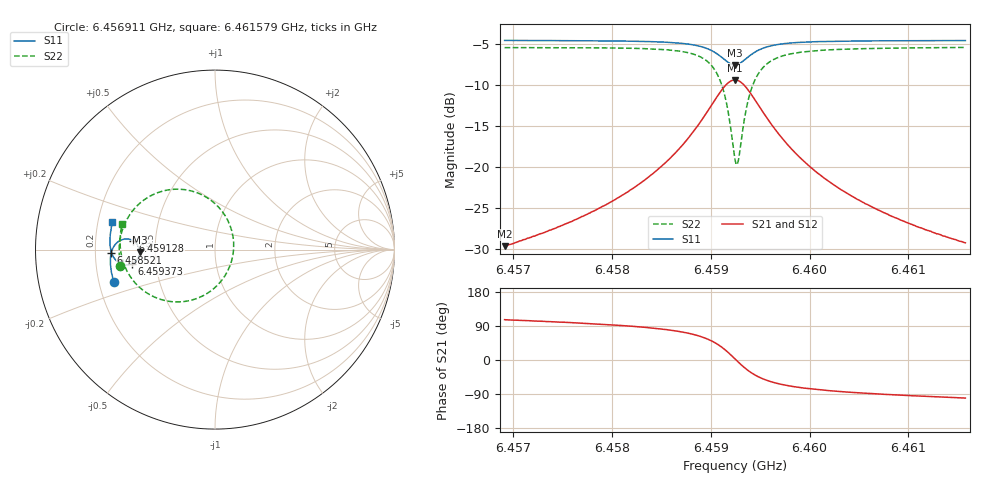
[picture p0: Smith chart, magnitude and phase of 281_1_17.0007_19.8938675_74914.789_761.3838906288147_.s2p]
#  HZ  S  RI  R  50.00
! Rohde & Schwarz Vector Network Analyzer
! Rohde-Schwarz,ZNB20-2Port,1311601062101988,3.16
! Created: UTC 3/20/2024, 11:04:41 PM
! freq[Hz]  re:S11  im:S11  re:S21  im:S21  re:S12  im:S12  re:S22  im:S22
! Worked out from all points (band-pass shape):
!   401 points, 6.456911 GHz to 6.461579 GHz, reference 50 ohm
!   highest |S21| = -9.36 dB at 6.459245 GHz (marker M1); lowest = -29.6 dB at 6.456911 GHz (marker M2)
!   |S21| within 3 dB of the highest: 6.459012 GHz to 6.459478 GHz (466.5 kHz wide, 0.00722 % of centre)
!   lowest |S11| = -7.5 dB at 6.459245 GHz (marker M3), VSWR 2.45, Z = 20.4 - j0.63 ohm
!   |S11| at or under -10 dB: nowhere
!   |S22| runs from -19.7 to -5.4 dB; largest |S21 - S12| = 0.013
!   S11 on the Smith chart (normalised r, x): 6.456911 GHz: 0.26, -0.14; 6.458521 GHz: 0.27, -0.02; 6.459128 GHz: 0.37, +0.05; 6.459373 GHz: 0.37, -0.07; 6.461579 GHz: 0.26, +0.12
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6.4569109e9  -0.5648 -0.1778  -0.00934 0.0317  -0.00758 0.0318  -0.5272 -0.0929
6.4576928e9  -0.5798 -0.1099  -0.00618 0.0497  -0.00372 0.049  -0.5344 -0.0029
6.4581363e9  -0.5831 -0.0656  -0.000327 0.0695  0.00299 0.0681  -0.527 0.0664
6.4584747e9  -0.5796 -0.0254  0.0128 0.0974  0.0167 0.0948  -0.5037 0.1418
6.4585214e9  -0.5784 -0.019  0.0161 0.1029  0.0202 0.0999  -0.4976 0.1551
6.4587315e9  -0.5664 0.0129  0.0415 0.1344  0.0457 0.1297  -0.4504 0.2265
6.4588832e9  -0.5454 0.0392  0.0833 0.1646  0.0868 0.1582  -0.3738 0.291
6.4590349e9  -0.4998 0.0591  0.1741 0.1845  0.1752 0.177  -0.2088 0.3366
6.4591283e9  -0.4557 0.0494  0.2631 0.1543  0.2634 0.1483  -0.0442 0.2894
6.459175e9  -0.4346 0.0308  0.3067 0.1123  0.3078 0.107  0.0381 0.2153
6.459245e9  -0.4197 -0.0127  0.3401 0.0168  0.3436 0.0101  0.104 0.0392
6.4592567e9  -0.42 -0.0206  0.34 -0.000638  0.3436 -0.00818  0.1039 0.00625
6.45928e9  -0.4237 -0.0361  0.3348 -0.0348  0.3385 -0.0438  0.0937 -0.0587
6.4593267e9  -0.4391 -0.0619  0.3071 -0.0941  0.3092 -0.1057  0.0384 -0.1701
6.4593734e9  -0.4608 -0.0779  0.2658 -0.1349  0.2652 -0.1478  -0.0444 -0.2445
6.4594667e9  -0.5037 -0.0846  0.1826 -0.1661  0.1767 -0.1773  -0.2092 -0.2915
6.4596185e9  -0.5472 -0.0641  0.096 -0.1532  0.0878 -0.1594  -0.3743 -0.2449
6.4597819e9  -0.5684 -0.0366  0.0517 -0.1262  0.0442 -0.129  -0.454 -0.175
6.4600269e9  -0.5811 -0.000954  0.0227 -0.0954  0.017 -0.0961  -0.5021 -0.0944
6.4603887e9  -0.5856 0.0414  0.00636 -0.0686  0.00237 -0.0682  -0.5245 -0.0139
6.4608089e9  -0.5837 0.0833  -0.00102 -0.0509  -0.00377 -0.0502  -0.5287 0.0517
6.4615791e9  -0.5714 0.1513  -0.00628 -0.0341  -0.00796 -0.0332  -0.518 0.1415
